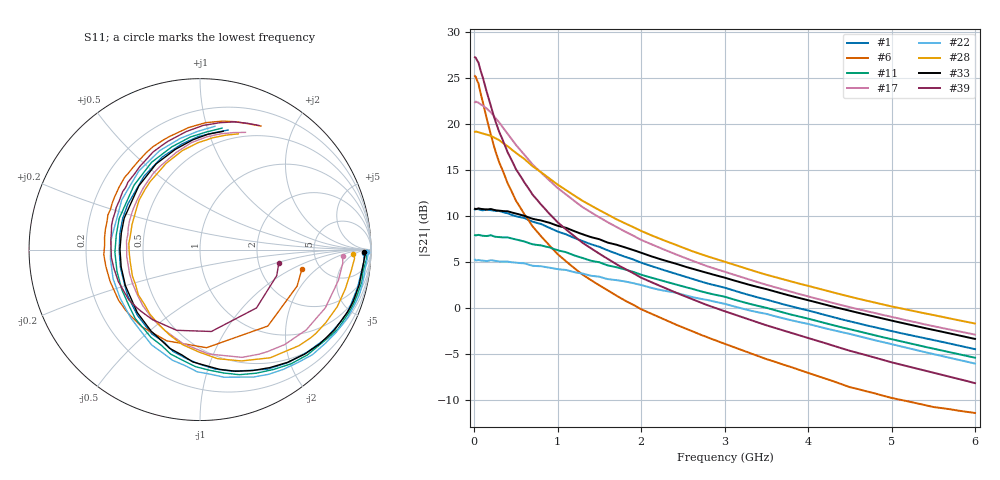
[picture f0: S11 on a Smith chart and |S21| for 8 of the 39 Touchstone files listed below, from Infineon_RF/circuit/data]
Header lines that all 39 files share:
! Infineon Technologies  Discrete & RF Semiconductors
! BFP181
! Common Emitter S-Parameters:  Jan 2016
# GHz  S  MA  R  50
!  f  S11  S21  S12  S22
! GHz  MAG  ANG  MAG  ANG  MAG  ANG  MAG  ANG
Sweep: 10 MHz to 6 GHz
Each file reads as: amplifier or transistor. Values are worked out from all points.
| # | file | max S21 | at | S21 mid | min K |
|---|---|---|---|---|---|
| 1 | BFP181_VCE_0.50V_IC_1.0mA.s2p | 10.8 dB | 20 MHz | 6.6 dB at 1.52 GHz | 0.02 |
| 2 | BFP181_VCE_0.50V_IC_2.0mA.s2p | 16.2 dB | 50 MHz | 8.7 dB at 1.52 GHz | 0.01 |
| 3 | BFP181_VCE_0.50V_IC_2.5mA.s2p | 17.8 dB | 20 MHz | 8.9 dB at 1.52 GHz | 0.00 |
| 4 | BFP181_VCE_0.50V_IC_3.0mA.s2p | 19.1 dB | 10 MHz | 8.9 dB at 1.52 GHz | 0.05 |
| 5 | BFP181_VCE_0.50V_IC_5.0mA.s2p | 22.1 dB | 10 MHz | 7.4 dB at 1.52 GHz | 0.14 |
| 6 | BFP181_VCE_0.50V_IC_12mA.s2p | 25.2 dB | 10 MHz | 2.4 dB at 1.52 GHz | 0.46 |
| 7 | BFP181_VCE_0.50V_IC_15mA.s2p | 25.6 dB | 10 MHz | 1.0 dB at 1.52 GHz | 0.55 |
| 8 | BFP181_VCE_0.50V_IC_20mA.s2p | 25.8 dB | 10 MHz | -0.8 dB at 1.52 GHz | 0.70 |
| 9 | BFP181_VCE_0.50V_IC_50mA.s2p | 5.3 dB | 20 MHz | 3.2 dB at 1.52 GHz | -0.03 |
| 10 | BFP181_VCE_0.50V_IC_60mA.s2p | 6.7 dB | 10 MHz | 4.1 dB at 1.52 GHz | 0.00 |
| 11 | BFP181_VCE_0.50V_IC_70mA.s2p | 8.0 dB | 50 MHz | 4.9 dB at 1.52 GHz | 0.01 |
| 12 | BFP181_VCE_0.50V_IC_80mA.s2p | 9.1 dB | 45 MHz | 5.6 dB at 1.52 GHz | -0.01 |
| 13 | BFP181_VCE_0.50V_IC_90mA.s2p | 10.0 dB | 20 MHz | 6.2 dB at 1.52 GHz | -0.01 |
| 14 | BFP181_VCE_0.75V_IC_1.2mA.s2p | 12.3 dB | 50 MHz | 7.8 dB at 1.52 GHz | -0.03 |
| 15 | BFP181_VCE_0.75V_IC_2.5mA.s2p | 17.9 dB | 50 MHz | 9.8 dB at 1.52 GHz | 0.02 |
| 16 | BFP181_VCE_0.75V_IC_3.0mA.s2p | 19.2 dB | 20 MHz | 10.1 dB at 1.52 GHz | 0.04 |
| 17 | BFP181_VCE_0.75V_IC_5.0mA.s2p | 22.5 dB | 20 MHz | 9.8 dB at 1.52 GHz | 0.08 |
| 18 | BFP181_VCE_0.75V_IC_6.0mA.s2p | 23.4 dB | 20 MHz | 9.2 dB at 1.52 GHz | 0.13 |
| 19 | BFP181_VCE_0.75V_IC_8.0mA.s2p | 24.6 dB | 20 MHz | 7.7 dB at 1.52 GHz | 0.23 |
| 20 | BFP181_VCE_0.75V_IC_10mA.s2p | 25.3 dB | 20 MHz | 6.3 dB at 1.52 GHz | 0.31 |
| 21 | BFP181_VCE_0.75V_IC_15mA.s2p | 26.2 dB | 10 MHz | 3.8 dB at 1.52 GHz | 0.54 |
| 22 | BFP181_VCE_0.75V_IC_50mA.s2p | 5.3 dB | 10 MHz | 3.4 dB at 1.52 GHz | -0.02 |
| 23 | BFP181_VCE_0.75V_IC_70mA.s2p | 8.0 dB | 20 MHz | 5.3 dB at 1.52 GHz | -0.01 |
| 24 | BFP181_VCE_0.75V_IC_80mA.s2p | 9.1 dB | 50 MHz | 5.9 dB at 1.52 GHz | 0.02 |
| 25 | BFP181_VCE_1.0V_IC_1.0mA.s2p | 10.9 dB | 50 MHz | 7.2 dB at 1.52 GHz | 0.00 |
| 26 | BFP181_VCE_1.0V_IC_1.2mA.s2p | 12.3 dB | 50 MHz | 8.0 dB at 1.52 GHz | -0.04 |
| 27 | BFP181_VCE_1.0V_IC_1.5mA.s2p | 14.0 dB | 10 MHz | 8.9 dB at 1.52 GHz | -0.01 |
| 28 | BFP181_VCE_1.0V_IC_3.0mA.s2p | 19.2 dB | 20 MHz | 10.6 dB at 1.52 GHz | 0.02 |
| 29 | BFP181_VCE_1.0V_IC_6.0mA.s2p | 23.6 dB | 10 MHz | 10.5 dB at 1.52 GHz | 0.09 |
| 30 | BFP181_VCE_1.0V_IC_10mA.s2p | 25.7 dB | 10 MHz | 8.1 dB at 1.52 GHz | 0.28 |
| 31 | BFP181_VCE_1.0V_IC_17mA.s2p | 26.7 dB | 10 MHz | 4.7 dB at 1.52 GHz | 0.55 |
| 32 | BFP181_VCE_1.0V_IC_20mA.s2p | 26.8 dB | 10 MHz | 3.7 dB at 1.52 GHz | 0.67 |
| 33 | BFP181_VCE_1.5V_IC_1.0mA.s2p | 10.9 dB | 50 MHz | 7.4 dB at 1.52 GHz | -0.01 |
| 34 | BFP181_VCE_1.5V_IC_1.2mA.s2p | 12.3 dB | 10 MHz | 8.2 dB at 1.52 GHz | -0.01 |
| 35 | BFP181_VCE_1.5V_IC_1.5mA.s2p | 14.0 dB | 10 MHz | 9.1 dB at 1.52 GHz | -0.13 |
| 36 | BFP181_VCE_1.5V_IC_2.0mA.s2p | 16.3 dB | 20 MHz | 10.1 dB at 1.52 GHz | -0.01 |
| 37 | BFP181_VCE_1.5V_IC_5.0mA.s2p | 22.6 dB | 20 MHz | 11.6 dB at 1.52 GHz | 0.04 |
| 38 | BFP181_VCE_1.5V_IC_12mA.s2p | 26.6 dB | 20 MHz | 9.2 dB at 1.52 GHz | 0.26 |
| 39 | BFP181_VCE_1.5V_IC_20mA.s2p | 27.3 dB | 10 MHz | 5.8 dB at 1.52 GHz | 0.57 |

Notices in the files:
2_Circuitos/VCO/Simulacion/modelos/Infineon_RF/circuit/data/BFP181_VCE_0.50V_IC_1.0mA.s2p:
(c) 2016  Infineon Technologies AG, Munich
